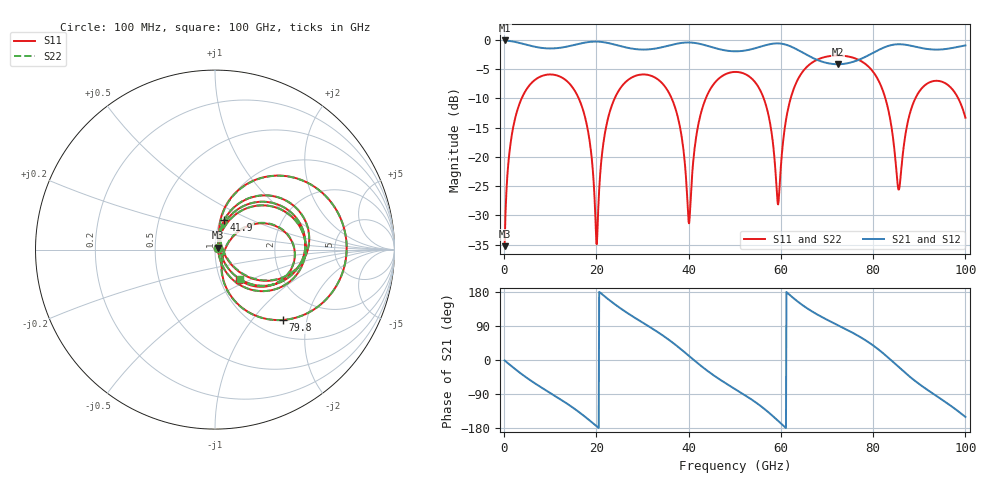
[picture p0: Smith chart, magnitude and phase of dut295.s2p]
! Touchstone file exported from HFSS 2026.1.0
!  File:  C:/ffzhzh/LocalFiles/Ansys_Project_Files/temp_train_TSV_RDL_295_1783681514_26216.aedt
!  Generated:  07:13:39 PM Jul 10, 2026
!  Design:  TSV_RDL
!  Project:  temp_train_TSV_RDL_295_1783681514_26216
! Variables:
!  h_bsmrdl = 3.12um
!  h_ox = 20um
!  h_rdl = 5um
!  h_sub = 72.63um
!  h_tmrdl = 2.68um
!  h_tsv = 72.63um
!  h_via = 3um
!  l_bsmrdl = 128.17um
!  l_sub = 2941.06um
!  l_tmrdl = 504.99um
!  m_sub = 200um
!  pitch = 54.25um
!  r_tsv = 9.79um
!  s_tmrdl = 10um
!  w_bsmrdl = 18.91um
!  w_sub = 500um
!  w_tmrdl = 26.62um
!  x_tsv_center1 = 518.3um
!  x_tsv_center2 = 665.38um
!  x_tsv_center3 = 1196.99um
!  x_tsv_center4 = 1344.07um
!  x_tsv_center5 = 1875.68um
!  x_tsv_center6 = 2022.76um
# GHz S MA R 50.000000
! Terminal data exported
! Port[1] = TM_RDL1_1_T1
! Port[2] = TM_RDL5_1_T1
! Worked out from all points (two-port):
!   1000 points, 100 MHz to 100 GHz, reference 50 ohm
!   highest |S21| = -0.12 dB at 100 MHz (marker M1); lowest = -4.2 dB at 72.3 GHz (marker M2)
!   |S21| within 3 dB of the highest: start of sweep to 66.95 GHz; 77.77 GHz to end of sweep
!   lowest |S11| = -35.2 dB at 100 MHz (marker M3), VSWR 1.04, Z = 51.4 + j1.04 ohm
!   |S11| at or under -10 dB: 16.17 GHz to 23.97 GHz (7.8 GHz wide, 38.9 % of centre); 36.31 GHz to 43.72 GHz (7.41 GHz wide, 18.5 % of centre); 82.65 GHz to 89.16 GHz (6.507 GHz wide, 7.58 % of centre) (the widest 3 of 6)
!   |S22| runs from -35.2 to -2.7 dB; largest |S21 - S12| = 1e-13
!   S11 on the Smith chart (normalised r, x): 100 MHz: 1.03, +0.02; 41.9 GHz: 1.05, +0.35; 79.8 GHz: 1.30, -1.45; 100 GHz: 1.23, -0.43
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0.1  0.01729 35.9  0.9861 -1.1  0.9861 -1.1  0.01729 35.9
! Gamma 0 0 0 0
! Port Impedance 50 0 50 0
1.7  0.1573 66.0  0.9691 -17.3  0.9691 -17.3  0.1573 66.0
4.8  0.3749 41.0  0.9074 -46.1  0.9074 -46.1  0.3749 41.0
10.6  0.5039 -2.9  0.8436 -91.6  0.8436 -91.6  0.5039 -2.9
16.8  0.2734 -51.2  0.9336 -142.7  0.9336 -142.7  0.2735 -51.1
20.1  0.01797 16.4  0.9643 -175.2  0.9643 -175.2  0.0183 16.0
23.9  0.312 54.1  0.9106 147.9  0.9106 147.9  0.312 54.1
33.4  0.4566 -16.7  0.8495 72.9  0.8495 72.9  0.4566 -16.7
37.7  0.2146 -49.9  0.9292 34.8  0.9292 34.8  0.2146 -49.9
40  0.0277 -3.2  0.9479 11.6  0.9479 11.6  0.02733 -3.5
41.9  0.172 72.6  0.9315 -7.8  0.9315 -7.8  0.1718 72.8
50.1  0.5314 12.3  0.7966 -76.9  0.7966 -76.9  0.5313 12.5
56.3  0.314 -33.4  0.8896 -127.9  0.8896 -127.9  0.3142 -32.9
59.4  0.03927 21.4  0.9307 -160.6  0.9307 -160.6  0.04189 21.4
62  0.3038 72.7  0.8814 170.7  0.8814 170.7  0.3042 72.3
66.7  0.6357 35.9  0.7059 128.6  0.7059 128.6  0.6357 35.9
72.3  0.7337 1.8  0.6179 92.1  0.6179 92.1  0.7337 1.8
79.8  0.5444 -46.0  0.7659 40.1  0.7659 40.1  0.5443 -46.1
83.4  0.2403 -72.8  0.8887 4.8  0.8887 4.8  0.2399 -73.2
85.6  0.05265 -12.4  0.9157 -19.4  0.9157 -19.4  0.05032 -12.0
90.7  0.3911 16.2  0.8466 -69.7  0.8466 -69.7  0.3909 16.8
100  0.216 -51.2  0.8946 -150.2  0.8946 -150.2  0.2167 -50.0
